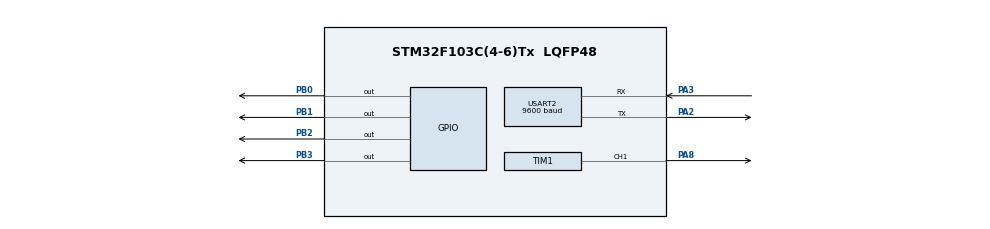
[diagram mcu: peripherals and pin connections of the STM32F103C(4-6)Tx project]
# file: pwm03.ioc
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Mcu.Family=STM32F1
VP_SYS_VS_ND.Mode=No_Debug
NVIC.USART2_IRQn=true\:0\:0\:false\:false\:true\:true\:true
USART2.BaudRate=9600
ProjectManager.StackSize=0x400
PA3.Mode=Asynchronous
TIM1.Prescaler=71
SH.S_TIM1_CH1.0=TIM1_CH1,PWM Generation1 CH1
ProjectManager.TargetToolchain=STM32CubeIDE
PB2.Signal=GPIO_Output
board=custom
RCC.APB2Freq_Value=8000000
TIM1.Channel-PWM\ Generation1\ CH1=TIM_CHANNEL_1
PA8.Signal=S_TIM1_CH1
Mcu.Name=STM32F103C(4-6)Tx
PA2.Signal=USART2_TX
PB3.Signal=GPIO_Output
Mcu.Package=LQFP48
PB1.Signal=GPIO_Output
USART2.VirtualMode=VM_ASYNC
ProjectManager.HeapSize=0x200
NVIC.PriorityGroup=NVIC_PRIORITYGROUP_4
PA2.Mode=Asynchronous
RCC.APB1Freq_Value=8000000
PB0.Signal=GPIO_Output
PA3.Signal=USART2_RX

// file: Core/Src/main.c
/* USER CODE BEGIN Header */
/**
  ******************************************************************************
  * @file           : main.c
  * @brief          : Main program body
  ******************************************************************************
  * @attention
  *
  * <h2><center>&copy; Copyright (c) 2022 STMicroelectronics.
  * All rights reserved.</center></h2>
  *
  * This software component is licensed by ST under BSD 3-Clause license,
  * the "License"; You may not use this file except in compliance with the
  * License. You may obtain a copy of the License at:
  *                        opensource.org/licenses/BSD-3-Clause
  *
  ******************************************************************************
  */
/* USER CODE END Header */
#include "main.h"

TIM_HandleTypeDef htim1;

UART_HandleTypeDef huart2;

void SystemClock_Config(void);
static void MX_GPIO_Init(void);
static void MX_TIM1_Init(void);
static void MX_USART2_UART_Init(void);
/* USER CODE BEGIN PFP */
void dirchan(int dir,int rate);
/* USER CODE END PFP */

/* USER CODE BEGIN 0 */
void HAL_UART_RxCpltCallback(UART_HandleTypeDef *huart)
{

	while(1){

		  HAL_Delay(1000);
	      HAL_GPIO_TogglePin(GPIOB, GPIO_PIN_3);
		  //HAL_GPIO_WritePin(GPIOB, GPIO_PIN_3, GPIO_PIN_RESET);
		  HAL_Delay(1000);
	}

		//HAL_GPIO_WritePin(GPIOB, GPIO_PIN_2, GPIO_PIN_RESET);

}

uint8_t RX_buffer[12]={0};
char rx_char[12]={};
/* USER CODE END 0 */

int main(void)
{

  /* MCU Configuration--------------------------------------------------------*/

  /* Reset of all peripherals, Initializes the Flash interface and the Systick. */
  HAL_Init();

  /* Configure the system clock */
  SystemClock_Config();

  /* Initialize all configured peripherals */
  MX_GPIO_Init();
  MX_TIM1_Init();
  MX_USART2_UART_Init();
  /* USER CODE BEGIN 2 */
HAL_TIM_PWM_Start(&htim1, TIM_CHANNEL_1);

dirchan(2,20);
HAL_Delay(1000);
dirchan(1,20);

int a=1;
//HAL_UART_Receive_IT(&huart2,RX_buffer, 12);
  /* USER CODE END 2 */

  /* Infinite loop */
  /* USER CODE BEGIN WHILE */
  while (1)
  {
	  a=1;
	  dirchan(a,20);
	  HAL_Delay(1000);
	  a=2;
	  dirchan(a,20);
	  HAL_Delay(1000);

  }

    /* USER CODE END WHILE */

}

void SystemClock_Config(void)
{
  RCC_OscInitTypeDef RCC_OscInitStruct = {0};
  RCC_ClkInitTypeDef RCC_ClkInitStruct = {0};

  /** Initializes the RCC Oscillators according to the specified parameters
  * in the RCC_OscInitTypeDef structure.
  */
  RCC_OscInitStruct.OscillatorType = RCC_OSCILLATORTYPE_HSI;
  RCC_OscInitStruct.HSIState = RCC_HSI_ON;
  RCC_OscInitStruct.HSICalibrationValue = RCC_HSICALIBRATION_DEFAULT;
  RCC_OscInitStruct.PLL.PLLState = RCC_PLL_NONE;
  if (HAL_RCC_OscConfig(&RCC_OscInitStruct) != HAL_OK)
  {
    Error_Handler();
  }
  /** Initializes the CPU, AHB and APB buses clocks
  */
  RCC_ClkInitStruct.ClockType = RCC_CLOCKTYPE_HCLK|RCC_CLOCKTYPE_SYSCLK
                              |RCC_CLOCKTYPE_PCLK1|RCC_CLOCKTYPE_PCLK2;
  RCC_ClkInitStruct.SYSCLKSource = RCC_SYSCLKSOURCE_HSI;
  RCC_ClkInitStruct.AHBCLKDivider = RCC_SYSCLK_DIV1;
  RCC_ClkInitStruct.APB1CLKDivider = RCC_HCLK_DIV1;
  RCC_ClkInitStruct.APB2CLKDivider = RCC_HCLK_DIV1;

  if (HAL_RCC_ClockConfig(&RCC_ClkInitStruct, FLASH_LATENCY_0) != HAL_OK)
  {
    Error_Handler();
  }
}

static void MX_TIM1_Init(void)
{

  TIM_MasterConfigTypeDef sMasterConfig = {0};
  TIM_OC_InitTypeDef sConfigOC = {0};
  TIM_BreakDeadTimeConfigTypeDef sBreakDeadTimeConfig = {0};

  htim1.Instance = TIM1;
  htim1.Init.Prescaler = 71;
  htim1.Init.CounterMode = TIM_COUNTERMODE_UP;
  htim1.Init.Period = 65535;
  htim1.Init.ClockDivision = TIM_CLOCKDIVISION_DIV1;
  htim1.Init.RepetitionCounter = 0;
  htim1.Init.AutoReloadPreload = TIM_AUTORELOAD_PRELOAD_DISABLE;
  if (HAL_TIM_PWM_Init(&htim1) != HAL_OK)
  {
    Error_Handler();
  }
  sMasterConfig.MasterOutputTrigger = TIM_TRGO_RESET;
  sMasterConfig.MasterSlaveMode = TIM_MASTERSLAVEMODE_DISABLE;
  if (HAL_TIMEx_MasterConfigSynchronization(&htim1, &sMasterConfig) != HAL_OK)
  {
    Error_Handler();
  }
  sConfigOC.OCMode = TIM_OCMODE_PWM1;
  sConfigOC.Pulse = 0;
  sConfigOC.OCPolarity = TIM_OCPOLARITY_HIGH;
  sConfigOC.OCNPolarity = TIM_OCNPOLARITY_HIGH;
  sConfigOC.OCFastMode = TIM_OCFAST_DISABLE;
  sConfigOC.OCIdleState = TIM_OCIDLESTATE_RESET;
  sConfigOC.OCNIdleState = TIM_OCNIDLESTATE_RESET;
  if (HAL_TIM_PWM_ConfigChannel(&htim1, &sConfigOC, TIM_CHANNEL_1) != HAL_OK)
  {
    Error_Handler();
  }
  sBreakDeadTimeConfig.OffStateRunMode = TIM_OSSR_DISABLE;
  sBreakDeadTimeConfig.OffStateIDLEMode = TIM_OSSI_DISABLE;
  sBreakDeadTimeConfig.LockLevel = TIM_LOCKLEVEL_OFF;
  sBreakDeadTimeConfig.DeadTime = 0;
  sBreakDeadTimeConfig.BreakState = TIM_BREAK_DISABLE;
  sBreakDeadTimeConfig.BreakPolarity = TIM_BREAKPOLARITY_HIGH;
  sBreakDeadTimeConfig.AutomaticOutput = TIM_AUTOMATICOUTPUT_DISABLE;
  if (HAL_TIMEx_ConfigBreakDeadTime(&htim1, &sBreakDeadTimeConfig) != HAL_OK)
  {
    Error_Handler();
  }
  HAL_TIM_MspPostInit(&htim1);

}

static void MX_USART2_UART_Init(void)
{

  huart2.Instance = USART2;
  huart2.Init.BaudRate = 9600;
  huart2.Init.WordLength = UART_WORDLENGTH_8B;
  huart2.Init.StopBits = UART_STOPBITS_1;
  huart2.Init.Parity = UART_PARITY_NONE;
  huart2.Init.Mode = UART_MODE_TX_RX;
  huart2.Init.HwFlowCtl = UART_HWCONTROL_NONE;
  huart2.Init.OverSampling = UART_OVERSAMPLING_16;
  if (HAL_UART_Init(&huart2) != HAL_OK)
  {
    Error_Handler();
  }

}

static void MX_GPIO_Init(void)
{
  GPIO_InitTypeDef GPIO_InitStruct = {0};

  /* GPIO Ports Clock Enable */
  __HAL_RCC_GPIOA_CLK_ENABLE();
  __HAL_RCC_GPIOB_CLK_ENABLE();

  /*Configure GPIO pin Output Level */
  HAL_GPIO_WritePin(GPIOB, GPIO_PIN_0|GPIO_PIN_1|GPIO_PIN_2|GPIO_PIN_3, GPIO_PIN_RESET);

  /*Configure GPIO pins : PB0 PB1 PB2 PB3 */
  GPIO_InitStruct.Pin = GPIO_PIN_0|GPIO_PIN_1|GPIO_PIN_2|GPIO_PIN_3;
  GPIO_InitStruct.Mode = GPIO_MODE_OUTPUT_PP;
  GPIO_InitStruct.Pull = GPIO_NOPULL;
  GPIO_InitStruct.Speed = GPIO_SPEED_FREQ_LOW;
  HAL_GPIO_Init(GPIOB, &GPIO_InitStruct);

}

/* USER CODE BEGIN 4 */
void dirchan(int dir,int rate){

	if(rate<=0){
		HAL_GPIO_WritePin(GPIOB, GPIO_PIN_0, GPIO_PIN_RESET);
		HAL_GPIO_WritePin(GPIOB, GPIO_PIN_1, GPIO_PIN_RESET);

	}else {

		int dum=(786*rate)/100;
		dum=786-dum;

		if(dir==1){
				HAL_GPIO_WritePin(GPIOB, GPIO_PIN_0, GPIO_PIN_RESET);
				HAL_GPIO_WritePin(GPIOB, GPIO_PIN_1, GPIO_PIN_SET);

		}else if (dir==2){

				HAL_GPIO_WritePin(GPIOB, GPIO_PIN_0, GPIO_PIN_SET);
				HAL_GPIO_WritePin(GPIOB, GPIO_PIN_1, GPIO_PIN_RESET);

			}
		TIM1->CCR1=250*dum;
	}

}

/* USER CODE END 4 */

void Error_Handler(void)
{
  __disable_irq();
  while (1)
  {
  }
}

/************************ (C) COPYRIGHT STMicroelectronics *****END OF FILE****/
